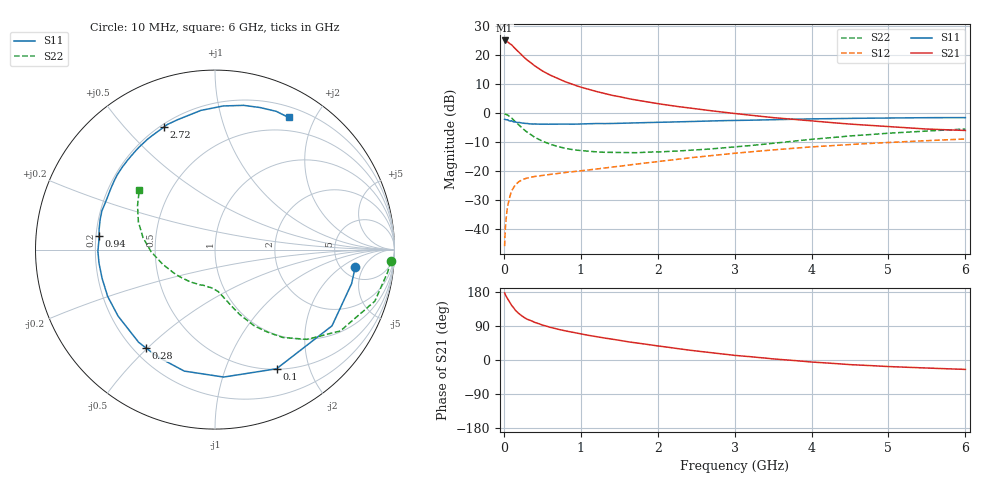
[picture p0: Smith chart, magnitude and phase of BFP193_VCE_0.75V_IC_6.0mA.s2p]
! Infineon Technologies  Discrete & RF Semiconductors
! BFP193
! VCE = 0.75V,  IC =  6.0 mA
! Common Emitter S-Parameters:  Jan 2016
# GHz  S  MA  R  50
!  f  S11  S21  S12  S22
! GHz  MAG  ANG  MAG  ANG  MAG  ANG  MAG  ANG
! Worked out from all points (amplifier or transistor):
!   210 points, 10 MHz to 6 GHz, reference 50 ohm
!   highest |S21| = 25.1 dB at 10 MHz (marker M1)
!   |S21| within 3 dB of that: start of sweep to 155.6 MHz
!   unconditionally stable (mu >= 1): 1.146 GHz to 4.251 GHz
!   at 185 MHz: K = 0.24, MSG = 22.6 dB, |S12| = -23.8 dB
!   at 1.52 GHz: K = 1.12, MAG = 9.8 dB, |S12| = -18.2 dB
!   at 6 GHz: K = 0.98, MSG = 1.5 dB, |S12| = -8.9 dB
!   S11 on the Smith chart (normalised r, x): 10 MHz: 6.59, -3.42; 100 MHz: 0.51, -1.52; 280 MHz: 0.25, -0.49; 940 MHz: 0.21, +0.06; 2.72 GHz: 0.21, +0.64; 6 GHz: 0.33, +1.65
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0.01  0.7873 -7.2  18.08 177.0  0.0051 87.5  0.9811 -3.7
0.02  0.7844 -14.0  17.73 171.8  0.0105 83.3  0.971 -7.3
0.05  0.7781 -33.1  17.08 160.8  0.0252 73.5  0.9356 -17.9
0.1  0.7473 -62.7  15.24 144.5  0.0456 60.4  0.8325 -33.0
0.15  0.7118 -86.1  13.02 131.0  0.0584 50.3  0.716 -44.3
0.2  0.6982 -104.2  11.2 121.6  0.0669 43.8  0.6191 -52.3
0.24  0.6784 -115.4  9.897 115.5  0.0712 40.0  0.5528 -56.9
0.28  0.6694 -125.0  8.853 110.4  0.0747 37.5  0.5004 -60.8
0.3  0.6691 -129.5  8.378 107.9  0.0763 36.5  0.4768 -62.8
0.4  0.6548 -145.6  6.615 99.3  0.0812 32.8  0.3864 -69.2
0.5  0.6524 -156.4  5.394 92.3  0.0849 31.2  0.3308 -73.4
0.6  0.6492 -165.7  4.58 86.4  0.0884 30.9  0.2933 -77.1
0.7  0.6506 -173.2  3.984 81.2  0.0911 31.3  0.2672 -80.2
0.94  0.6508 173.2  3.005 71.3  0.0998 32.5  0.232 -86.4
1.02  0.6564 169.0  2.782 68.2  0.1025 33.0  0.2262 -88.4
1.4  0.6674 153.5  2.054 55.2  0.1178 35.7  0.212 -99.1
2.02  0.6994 132.5  1.457 36.7  0.1486 37.4  0.2158 -117.9
2.72  0.7395 112.8  1.097 18.8  0.1877 35.3  0.2449 -141.0
3.1  0.7563 104.0  0.961 10.6  0.2103 32.8  0.2701 -153.4
4.1  0.8039 85.1  0.72 -6.5  0.2685 24.1  0.365 179.4
5.1  0.8319 71.1  0.578 -18.1  0.3191 13.7  0.4612 158.0
6  0.8427 60.9  0.506 -24.8  0.3604 3.7  0.5359 142.0
